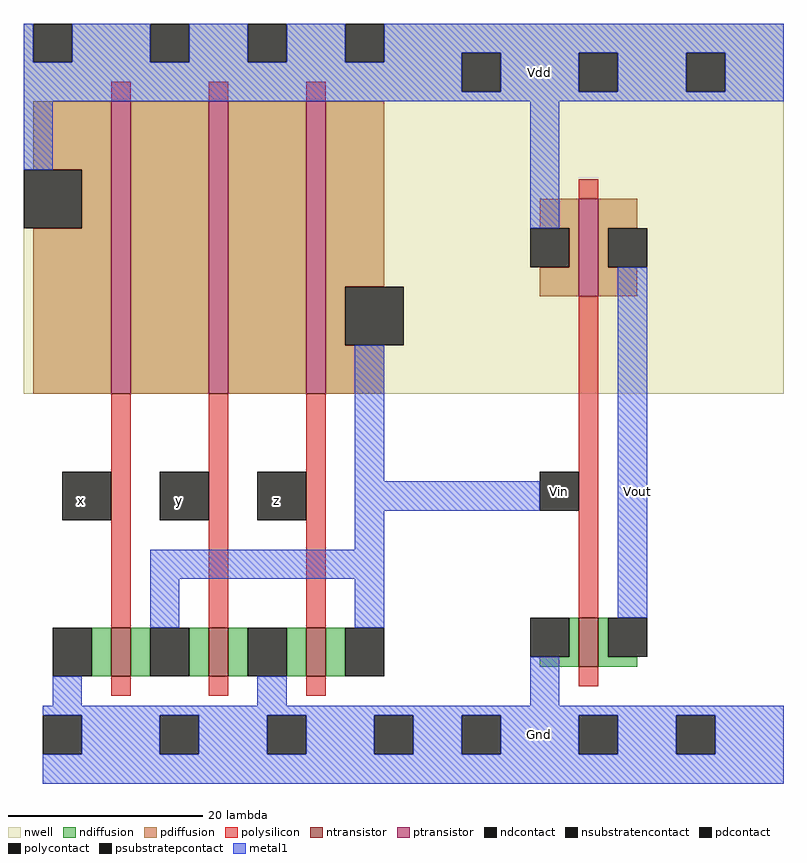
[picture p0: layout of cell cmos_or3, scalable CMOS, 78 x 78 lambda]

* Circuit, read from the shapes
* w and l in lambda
.subckt cmos_or3 Gnd Vdd Vin Vout x y z
M1 Vin x Gnd Gnd nfet w=5 l=2
M2 Gnd y Vin Gnd nfet w=5 l=2
M3 Vin z Gnd Gnd nfet w=5 l=2
M4 Vout Vin Gnd Gnd nfet w=5 l=2
M5 n1 x Vdd Vdd pfet w=30 l=2
M6 n2 y n1 Vdd pfet w=30 l=2
M7 Vin z n2 Vdd pfet w=30 l=2
M8 Vout Vin Vdd Vdd pfet w=10 l=2
.ends

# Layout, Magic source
magic
tech scmos
<< nwell >>
rect -40 40 38 78
<< polysilicon >>
rect -31 70 -29 72
rect -21 70 -19 72
rect -11 70 -9 72
rect 17 60 19 62
rect -31 16 -29 40
rect -21 16 -19 40
rect -11 16 -9 40
rect 17 17 19 50
rect -31 9 -29 11
rect -21 9 -19 11
rect -11 9 -9 11
rect 17 10 19 12
<< ndiffusion >>
rect -33 11 -31 16
rect -29 11 -27 16
rect -23 11 -21 16
rect -19 11 -17 16
rect -13 11 -11 16
rect -9 11 -7 16
rect 16 13 17 17
rect 13 12 17 13
rect 19 13 20 17
rect 19 12 23 13
<< pdiffusion >>
rect -39 63 -31 70
rect -34 57 -31 63
rect -39 40 -31 57
rect -29 40 -21 70
rect -19 40 -11 70
rect -9 51 -3 70
rect 13 57 17 60
rect 16 53 17 57
rect -9 45 -7 51
rect 13 50 17 53
rect 19 57 23 60
rect 19 53 20 57
rect 19 50 23 53
rect -9 40 -3 45
<< metal1 >>
rect -40 74 -39 78
rect -35 74 -27 78
rect -23 74 -17 78
rect -13 74 -7 78
rect -3 75 38 78
rect -3 74 5 75
rect -40 71 5 74
rect 9 71 17 75
rect 21 71 28 75
rect 32 71 38 75
rect -40 70 38 71
rect -40 63 -37 70
rect 12 57 15 70
rect -6 31 -3 45
rect -6 28 13 31
rect -6 24 -3 28
rect -27 21 -3 24
rect -27 16 -24 21
rect -6 16 -3 21
rect 21 17 24 53
rect -37 8 -34 11
rect -16 8 -13 11
rect 12 8 15 13
rect -38 7 38 8
rect -34 3 -26 7
rect -22 3 -15 7
rect -11 3 -4 7
rect 0 3 5 7
rect 9 3 17 7
rect 21 3 27 7
rect 31 3 38 7
rect -38 0 38 3
<< ntransistor >>
rect -31 11 -29 16
rect -21 11 -19 16
rect -11 11 -9 16
rect 17 12 19 17
<< ptransistor >>
rect -31 40 -29 70
rect -21 40 -19 70
rect -11 40 -9 70
rect 17 50 19 60
<< polycontact >>
rect -36 27 -31 32
rect -26 27 -21 32
rect -16 27 -11 32
rect 13 28 17 32
<< ndcontact >>
rect -37 11 -33 16
rect -27 11 -23 16
rect -17 11 -13 16
rect -7 11 -3 16
rect 12 13 16 17
rect 20 13 24 17
<< pdcontact >>
rect -40 57 -34 63
rect 12 53 16 57
rect -7 45 -1 51
rect 20 53 24 57
<< psubstratepcontact >>
rect -38 3 -34 7
rect -26 3 -22 7
rect -15 3 -11 7
rect -4 3 0 7
rect 5 3 9 7
rect 17 3 21 7
rect 27 3 31 7
<< nsubstratencontact >>
rect -39 74 -35 78
rect -27 74 -23 78
rect -17 74 -13 78
rect -7 74 -3 78
rect 5 71 9 75
rect 17 71 21 75
rect 28 71 32 75
<< labels >>
rlabel metal1 13 73 13 73 5 Vdd
rlabel metal1 13 5 13 5 1 Gnd
rlabel polycontact 15 30 15 30 1 Vin
rlabel polycontact -34 29 -34 29 3 x
rlabel polycontact -24 29 -24 29 1 y
rlabel polycontact -14 29 -14 29 1 z
rlabel metal1 23 30 23 30 1 Vout
<< end >>
